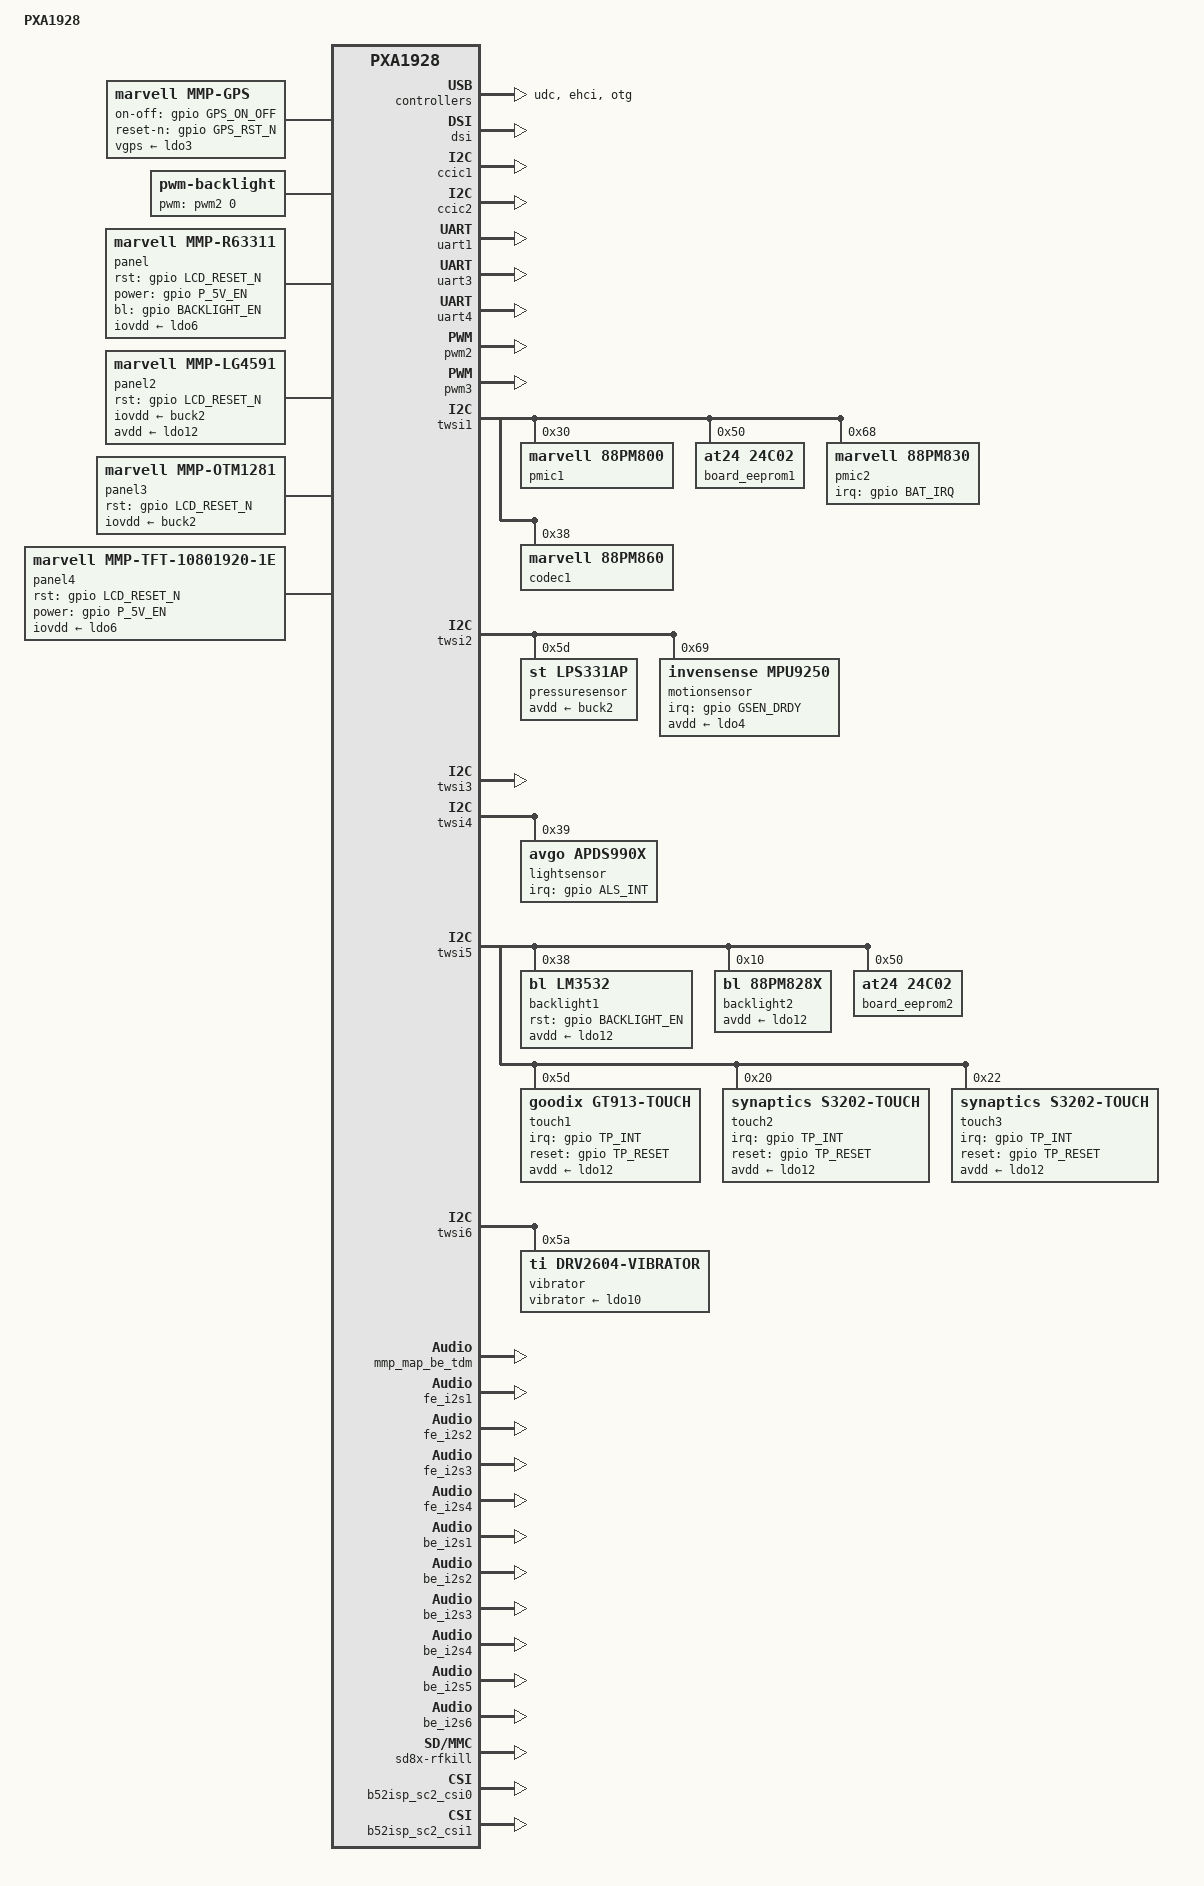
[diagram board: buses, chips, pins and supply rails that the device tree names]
/*
 *  Copyright (C) 2012 Marvell Technology Group Ltd.
 *  Author: Jing Xiang <jing.xiang@marvell.com>
 *
 *  This program is free software; you can redistribute it and/or modify
 *  it under the terms of the GNU General Public License version 2 as
 *  publishhed by the Free Software Foundation.
 */
#define PXA1928_FF
/dts-v1/;
/memreserve/ 0x09000000 0x01000000;	/* GC reserved 16M */
/memreserve/ 0x17000000 0x017f4c00;	/* default fb-mem (size: 256_align(1080*4)*1920*3+pitch_align(256_align(1080*4)*1920/512)*3(for dec header)) */
/memreserve/ 0x08100000 0x00040000;	/* ramoops buffer (256KB) */
#include "pxa1928.dtsi"
#include "pxa1928concord-pinfunc.h"
#include "regulator.h"
#include "pxa1928ff-pmic.dtsi"
#include <dt-bindings/mmc/pxa_sdhci.h>

#define KEY_MENU	139	/* Menu (show menu) */
#define KEY_HOMEPAGE	172	/* AC Home */
#define KEY_BACK	158	/* AC Back */


/ {
	model = "PXA1928";
	compatible = "mrvl,pxa1928-concord", "mrvl,pxa1928";

	interrupt-parent = <&gic>;

	aliases {
		serial0 = &uart3;
		serial2 = &uart1;
	};

	memory {
		device_type = "memory";
		reg = <0 0 0x40000000>;
	};

	gic: interrupt-controller@d1e02000 {
		status = "okay";
	};

	generic-timer {
		status = "okay";
	};

	gps: mmp-gps {
		compatible = "marvell,mmp-gps";
		pinctrl-names = "lpm_drv_low", "lpm_drv_high";
		pinctrl-0 = <&gps_lpm_drv_low_pins>;
		pinctrl-1 = <&gps_lpm_drv_high_pins>;
		marvell,mfp-lpm;
		vgps-supply = <&ldo3>;
		on-off-gpio = <&gpio GPS_ON_OFF 0>;
		reset-n-gpio = <&gpio GPS_RST_N 0>;
	};

	soc {
		axi@d4200000 {	/* AXI */
			wakeup: wakeupgen@d4284000 {
				compatible = "mrvl,pxa1928-intc-wakeupgen";
				reg = <0xd4284000 0x1000>,
					<0xd4282800 0x3ec>;
				mrvl,intc-gbl-mask = <0x114 0x1
							0x1d8 0x1
							0x208 0x1
							0x238 0x1>;
				mrvl,intc-for-sp = <>;
				mrvl,intc-wake-clr = <>;
			};

			usbphy: usbphy@d4207000 {
				status = "okay";
			};

			udc: udc@d4208100 {
				status = "okay";
			};

			ehci: ehci@d4208100 {
				status = "okay";
			};

			otg: otg@d4208100 {
				status = "okay";
			};

			dsi: dsi@d420b800 {
				marvell,phy-name = "mmp_dsi1";
				marvell,plat-path-name = "mmp_pnpath";
				marvell,dsi-lanes = <4>;
				marvell,burst-mode = <2>;
				marvell,hbp-en;
				dsi_avdd-supply = <&buck3>;
				status = "okay";
			};

			vdma: vdma@d427f000 {
				marvell,vdma-num = <4>;
				status = "okay";
				vdma1 {
					marvell,vdma-id = <0>;
					marvell,sram-size = <69632>;
					marvell,is_vid = <0>;
				};
				vdma2 {
					marvell,vdma-id = <1>;
					marvell,sram-size = <0>;
					marvell,is_vid = <0>;
				};
				vdma3 {
					marvell,vdma-id = <2>;
					marvell,sram-size = <60928>;
					marvell,is_vid = <1>;
				};
				vdma4 {
					marvell,vdma-id = <3>;
					marvell,sram-size = <0>;
					marvell,is_vid = <1>;
				};
			};

			apical: apical@d420b400 {
				marvell,apical-num = <1>;
			};

			disp: disp@d420b000 {
				marvell,disp-name = "mmp_disp";
				marvell,path-num = <1>;
				marvell,disp-aclk-dfc;
				marvell,disp-aclk-parent = "pll1_d2", "pll1_416", "pll1_624";
				status = "okay";
				path1 {
					marvell,path-name = "mmp_pnpath";
					marvell,overlay-num = <2>;
					marvell,overlay-table = <0>, <1>;
					marvell,output-type = <1>;
					marvell,path-config = <0x10>;
					marvell,link-config = <1>;
					pn_sclk_clksrc {
						clksrc = "disp1";
					};
					disp1_clksrc {
						clksrc = "pll1_416";
					};

					disp_apmu {
						plat = <2>;
						apmu-reg = <0xd4282984>;
						clksrc-bit = <12>;
						parent1-clk-tbl = "disp1", "pll3";
						parent2-clk-tbl = "pll1_416", "pll1_624", "pll3";
					};
				};
			};

			fb: fbbase {
				marvell,fb-name = "mmp_fb";
				marvell,path-name = "mmp_pnpath";
				marvell,overlay-id = <1>;
				marvell,default-pixfmt = <0x109>;
				marvell,buffer-num = <3>;
				marvell,fb-mem = <0x17000000>;
				status = "okay";
			};

			fb1: fb-overlay {
				marvell,fb-name = "mmp_fb_overlay";
				marvell,path-name = "mmp_pnpath";
				marvell,overlay-id = <0>;
				status = "okay";
			};

			gpu {
				gpu-mem-base = <0x09000000>;
				gpu-mem-size = <0x1000000>;
				status = "okay";
			};

			gpu2d {
				status = "okay";
			};

			sc2mmu1: sc2mmu@d4209000 {
				status = "okay";
			};

			ccic1: ccic@d420a000 {
				status = "okay";
				pinctrl-names = "default", "twsi3", "sccb";
				pinctrl-0 = <&twsi3_ccic1_gpio_pins>;
				pinctrl-1 = <&twsi3_ccic1_pins>;
				pinctrl-2 = <&twsi3_ccic1_sccb_pins>;
			};

			ccic2: ccic@d420a800 {
				status = "okay";
				pinctrl-names = "default", "twsi3", "sccb";
				pinctrl-0 = <&twsi3_ccic2_gpio_pins>;
				pinctrl-1 = <&twsi3_ccic2_pins>;
				pinctrl-2 = <&twsi3_ccic2_sccb_pins>;
				ccic_couple {
					    ccic_coupled = <1>;
				};
			};

			adma0: adma@c0ffd800 {
				status = "okay";
			};
			adma1: adma@c0ffd900 {
				status = "okay";
			};

			/* emmc */
                        sdh3: sdh@d4217000 {
                                pinctrl-names = "default", "fast";
                                pinctrl-0 = <&sdh3_pins_pullup &sdh3_pins_pulldn>;
                                pinctrl-1 = <&sdh3_pins_pullup_fast &sdh3_pins_pulldn_fast>;
                                bus-width = <8>;
                                non-removable;
				marvell,sdh-pm-runtime-en;
				marvell,sdh-flags = <(
						PXA_FLAG_SD_8_BIT_CAPABLE_SLOT |
						PXA_FLAG_ENABLE_CLOCK_GATING |
						PXA_FLAG_NEW_RX_CFG_REG |
						PXA_FLAG_TX_SEL_BUS_CLK
					     )>;
				marvell,sdh-quirks = <(SDHCI_QUIRK_BROKEN_CARD_DETECTION)>;
				marvell,sdh-quirks2 = <(
						SDHCI_QUIRK2_TIMEOUT_SHORT |
						SDHCI_QUIRK2_TUNING_ADMA_BROKEN |
						SDHCI_QUIRK2_FAKE_CMD_INDEX_ERR
						)>;
				marvell,sdh-host-caps = <(MMC_CAP_1_8V_DDR)>;
				marvell,sdh-host-caps2 = <(MMC_CAP2_BKOPS_EN | MMC_CAP2_HS200_1_8V_SDR)>;
/* prop "mrvl,dtr_data": <timing preset_rate src_rate tx_delay rx_delay rx_clk_sel0 rx_clk_sel1 fclk_tune_level fclk_fix_en> */
				marvell,sdh-dtr-data = <PXA_MMC_TIMING_LEGACY PXA_SDH_DTR_26M PXA_SDH_DTR_156M 0 0 0 0 0 0>,
						<PXA_MMC_TIMING_MMC_HS PXA_SDH_DTR_52M PXA_SDH_DTR_156M 0 0 0 0 4 0>,
						<PXA_MMC_TIMING_UHS_DDR50 PXA_SDH_DTR_52M PXA_SDH_DTR_156M 428 141 3 1 4 0>,
						<PXA_MMC_TIMING_MMC_HS200 PXA_SDH_DTR_156M PXA_SDH_DTR_156M 292 193 3 1 0 0>,
						<PXA_MMC_TIMING_MAX PXA_SDH_DTR_PS_NONE PXA_SDH_DTR_156M 0 0 0 0 0 0>;
                                marvell,sdh-tuning-win-limit = <150>;
                                marvell,sdh-dvfs-levels = <4 15>; /* tuning from dvfs level 0 to 15  */
                                marvell,sdh-tuning-mode = <PXA_SDH_TUNING_DVFS>;
				status = "okay";
                        };

			/* sd card */
                        sdh1: sdh@d4280000 {
                                pinctrl-names = "default", "fast";
                                pinctrl-0 = <&sdh1_pins_pullup &sdh1_pins_pulldn>;
                                pinctrl-1 = <&sdh1_pins_pullup_fast &sdh1_pins_pulldn_fast>;
                                bus-width = <4>;
                                vqmmc-supply    = <&ldo17>;
                                vmmc-supply     = <&ldo5>;
				marvell,sdh-pm-runtime-en;
				marvell,sdh-flags = <(
						PXA_FLAG_ENABLE_CLOCK_GATING |
						PXA_FLAG_NEW_RX_CFG_REG |
						PXA_FLAG_TX_SEL_BUS_CLK
					     )>;
				marvell,sdh-quirks2 = <(
						SDHCI_QUIRK2_TIMEOUT_SHORT |
						SDHCI_QUIRK2_BASE_CLOCK_ALWAYS_ON |
						SDHCI_QUIRK2_TUNING_ADMA_BROKEN |
						SDHCI_QUIRK2_SET_AIB_MMC |
						SDHCI_QUIRK2_DMA_CLOCK_FORCE_ON |
						SDHCI_QUIRK2_FAKE_CMD_INDEX_ERR
						)>;
/* prop "mrvl,dtr_data": <timing preset_rate src_rate tx_delay rx_delay rx_clk_sel0 rx_clk_sel1 fclk_tune_level fclk_fix_en> */
				marvell,sdh-dtr-data = <PXA_MMC_TIMING_LEGACY PXA_SDH_DTR_26M PXA_SDH_DTR_156M 0 0 0 0 0 0>,
						<PXA_MMC_TIMING_SD_HS PXA_SDH_DTR_52M PXA_SDH_DTR_156M 0 0 0 0 4 0>,
						<PXA_MMC_TIMING_UHS_DDR50 PXA_SDH_DTR_52M PXA_SDH_DTR_156M 282 0 0 0 4 0>,
						<PXA_MMC_TIMING_UHS_SDR104 PXA_SDH_DTR_156M PXA_SDH_DTR_156M 254 340 3 1 0 0>,
						<PXA_MMC_TIMING_MAX PXA_SDH_DTR_PS_NONE PXA_SDH_DTR_156M 0 0 0 0 0 0>;
                                marvell,sdh-tuning-win-limit = <150>;
                                marvell,sdh-dvfs-levels = <4 15>; /* tuning from dvfs level 0 to 15  */
                                marvell,sdh-tuning-mode = <PXA_SDH_TUNING_DVFS>;
				status = "okay";
                        };

			/* sdio */
			sdh2: sdh@d4280800 {
				pinctrl-names = "default", "fast", "sleep";
				pinctrl-0 = <&sdh2_pins_pullup &sdh2_pins_pulldn>;
				pinctrl-1 = <&sdh2_pins_pullup_fast &sdh2_pins_pulldn_fast>;
				pinctrl-2 = <&sdh2_pins_edge_wakeup>;
				bus-width = <4>;
				marvell,sdh-pm-runtime-en;
				marvell,sdh-quirks = <(SDHCI_QUIRK_BROKEN_CARD_DETECTION)>;
				marvell,sdh-quirks2 = <(
						SDHCI_QUIRK2_FAKE_SDIO_IRQ_IN_UHS |
						SDHCI_QUIRK2_TUNING_ADMA_BROKEN |
						SDHCI_QUIRK2_TIMEOUT_SHORT |
						SDHCI_QUIRK2_BASE_CLOCK_ALWAYS_ON |
						SDHCI_QUIRK2_MANUAL_CARD_DETECT |
						SDHCI_QUIRK2_FAKE_CMD_INDEX_ERR
						)>;
				marvell,sdh-pm-caps = <(MMC_PM_KEEP_POWER)>;
				marvell,sdh-host-caps2 = <(MMC_CAP2_NO_VOLTAGE_SWITCH)>;
				marvell,sdh-flags = <(
						PXA_FLAG_WAKEUP_HOST |
						PXA_FLAG_TX_SEL_BUS_CLK |
						PXA_FLAG_NEW_RX_CFG_REG |
						PXA_FLAG_DISABLE_PROBE_CDSCAN
						)>;
/* prop "mrvl,dtr_data": <timing preset_rate src_rate tx_delay rx_delay rx_clk_sel0 rx_clk_sel1 fclk_tune_level fclk_fix_en> */
				marvell,sdh-dtr-data = <PXA_MMC_TIMING_LEGACY PXA_SDH_DTR_26M PXA_SDH_DTR_156M 0 0 0 0 0 0>,
						<PXA_MMC_TIMING_SD_HS PXA_SDH_DTR_52M PXA_SDH_DTR_156M 0 0 0 0 4 0>,
						<PXA_MMC_TIMING_UHS_DDR50 PXA_SDH_DTR_52M PXA_SDH_DTR_156M 0 0 0 0 4 0>,
						<PXA_MMC_TIMING_UHS_SDR104 PXA_SDH_DTR_156M PXA_SDH_DTR_156M 0 250 3 1 0 0>,
						<PXA_MMC_TIMING_MAX PXA_SDH_DTR_PS_NONE PXA_SDH_DTR_156M 0 0 0 0 0 0>;
                                marvell,sdh-tuning-win-limit = <150>;
                                marvell,sdh-dvfs-levels = <4 15>; /* tuning from dvfs level 0 to 15  */
                                marvell,sdh-tuning-mode = <PXA_SDH_TUNING_DVFS>;
				marvell,sdh-sdio-probe-tune;
				status = "okay";
			};

		};

		axi@f0400000 {
			dec@0xf0400000 {
				marvell,codec-type = <0>;
				marvell,hw-capacity = <0>;
				status = "okay";
			};

			pp@0xf0400000 {
				marvell,codec-type = <1>;
				marvell,hw-capacity = <0>;
				status = "okay";
			};

			enc@0xf0400800 {
				marvell,codec-type = <2>;
				marvell,hw-capacity = <0>;
				status = "okay";
			};

			b52isp: b52isp@0xF0B00000 {
				status = "okay";
			};
		};

		apb@d4000000 {
			/* PDMA Controller 0 */
			pdma0: pdma@d4000000 {
				status = "okay";
			};

			/* PDMA Controller 1 */
			pdma1: pdma@d4008000 {
				status = "okay";
			};

			/* UART for GPS */
			uart1: uart@d4030000 {
				pinctrl-names = "default"; pinctrl-0 = <&uart1_pins>;
				status = "okay";
			};

			/* UART for AP */
			uart3: uart@d4018000 {
				pinctrl-names = "default","sleep";
				pinctrl-0 = <&uart3_pins_rx &uart3_pins_tx>;
				pinctrl-1 = <&uart3_pins_rx_sleep &uart3_pins_tx>;
				edge-wakeup-gpio = <UART3_RXD_GPIO>;
				status = "okay";
			};

			/* UART for WIFI and SPI NOR */
			uart4: uart@d4016000 {
				pinctrl-names = "default"; pinctrl-0 = <&uart4_pins>;
				status = "okay";
			};

			pwm2: pwm@d401a400 {
				pinctrl-names = "default"; pinctrl-0 = <&pwm2_pins>;
				status = "okay";
			};

			pwm3: pwm@d401a800 {
				pinctrl-names = "default"; pinctrl-0 = <&pwm3_pins>;
				status = "okay";
			};

			mfpr: mfpr@d401e000 {
				pinctrl-names = "default";
				reg = <0xd401e000 0x31c>;
				pinctrl-0 = <&mfp_pins_left_mmc1_1 &mfp_pins_left_mmc1_2 &mfp_pins_group_1>;
				status = "okay";
			};

			gpio: gpio@d4019000 {
				status = "okay";
			};

			twsi1: i2c@d4011000 {
				pinctrl-names = "default", "gpio", "i2c_cp";
				pinctrl-0 = <&twsi1_pins>;
				pinctrl-1 = <&twsi1_gpio_pins>;
				pinctrl-2 = <&twsi1_cp_pins>;
				i2c-gpio = <&gpio PWR_SCL_GPIO 0 &gpio PWR_SDA_GPIO 0>;
				mrvl,i2c-apdcp;
				status = "okay";
				pmic1: 88pm860@30 {
					compatible = "marvell,88pm800";
					reg = <0x30>;
					interrupts = <0 77 0x4>;
					interrupt-parent = <&gic>;
					interrupt-controller;
					#interrupt-cells = <1>;
					marvell,88pm800-power-page-addr = <0x31>;
					marvell,88pm800-gpadc-page-addr = <0x32>;

					regulators {
						compatible = "marvell,88pm80x-regulator";

						buck1a: BUCK1A {PM800_BUCK1A;regulator-boot-on;regulator-always-on;};
						buck2: BUCK2 {PM800_BUCK2;regulator-boot-on;regulator-always-on;};
						buck3: BUCK3 {PM800_BUCK3;regulator-boot-on;regulator-always-on;};
						buck4: BUCK4 {PM800_BUCK4;regulator-boot-on;regulator-always-on;};
						buck5: BUCK5 {PM800_BUCK5;regulator-boot-on;regulator-always-on;};
						buck6: BUCK6 {PM800_BUCK6;regulator-boot-on;regulator-always-on;};
						buck1b: BUCK1B {PM800_BUCK1B;regulator-boot-on;regulator-always-on;};
						ldo1: LDO1 {PM800_LDO1;regulator-boot-on;regulator-always-on;};
						ldo2: LDO2 {PM800_LDO2;regulator-boot-on;regulator-always-on;};
						ldo3: LDO3 {PM800_LDO3;};
						ldo4: LDO4 {PM800_LDO4;regulator-boot-on;regulator-always-on;};
						ldo5: LDO5 {PM800_LDO5;};
						ldo6: LDO6 {PM800_LDO6;regulator-boot-on;};
						ldo7: LDO7 {PM800_LDO7;};
						ldo8: LDO8 {PM800_LDO8;regulator-boot-on;regulator-always-on;};
						ldo9: LDO9 {PM800_LDO9;regulator-boot-on;regulator-always-on;};
						ldo10: LDO10 {PM800_LDO10;};
						ldo11: LDO11 {PM800_LDO11;regulator-boot-on;regulator-always-on;};
						ldo12: LDO12 {PM800_LDO12;regulator-boot-on;regulator-always-on;};
						ldo13: LDO13 {PM800_LDO13;regulator-boot-on;regulator-always-on;};
						ldo14: LDO14 {PM800_LDO14;};
						ldo15: LDO15 {PM800_LDO15;};
						ldo16: LDO16 {PM800_LDO16;regulator-boot-on;regulator-always-on;};
						ldo17: LDO17 {PM800_LDO17;};
						ldo18: LDO18 {PM800_LDO18;};
						ldo19: LDO19 {PM800_LDO19;regulator-boot-on;};
						ldo20: LDO20 {PM800_LDO20;};
					};
					headset {
						compatible = "marvell,88pm80x-headset";
						marvell,headset-flag = <1>;
						marvell,hook-press-th = <60>;
						marvell,vol-up-press-th = <250>;
						marvell,vol-down-press-th = <500>;
						marvell,mic-det-th = <600>;
						marvell,press-release-th = <600>;
						marvell,ground-detect = <0>;
						marvell,micbias-supply = <&ldo20>;
						marvell,micbias-volt = <1700>;
					};
                                        dvc {
                                                compatible = "marvell,88pm8xx-dvc";
							/* pm860 dvc affect buck1/3/5, affected 32bit = (1 << 4) | (1 << 2) | (1 << 0)*/
							/* we don't need to set buck1b since dual phase mode is enabled. */
							dvc-affected-buckbits = <21>;
							pinctrl-names = "default";
							pinctrl-0 = <&dvc_pins>;
					};
					onkey {
						compatible = "marvell,88pm80x-onkey";
						onkey-gpio-number = <1>;
						/* hardware reset: just reset */
						hw-rst-type = <1>;
						/* long onkey: power down */
						long-onkey-type = <1>;
					};
				};

				board_eeprom1:24aa025t@50 {
					compatible = "at24,24c02";
					reg = <0x50>;
				};

				pmic2: 88pm830@68 {
					compatible = "marvell,88pm830";

					/* gpio 5, 75 */
					pinctrl-names = "default","sleep";
					pinctrl-0 = <&pmic2_pins>;
					pinctrl-1 = <&pmic2_pins_sleep>;

					reg = <0x68>;
					interrupt-parent = <&gpio>;
					interrupt-controller;
					interrupts = <BAT_IRQ 0x2>;
					#interrupt-cells = <1>;
					edge-wakeup-gpio = <BAT_IRQ>;

					/* IRQF_ONESHOT | IRQF_TRIGGER_FALLING */
					marvell,88pm830-irq-flags =  <0x2002>;

					/* skip battery detection */
					obm-config-bat-det;
					/*
					 * charger, batttery parameters are based on Shenzhen B&k 485760AR battery
					 * Part Name: Li-ion Polymer Rechargeable Battery
					 * Pack Standard: 2400mAh(0.2C)
					 * Cell Model: 485760AR(4.35V)
					 */
					charger {
						compatible = "marvell,88pm830-chg";
						prechg-current = <320>;	/* mA */
						prechg-voltage = <3400>; /* mV */
						prechg-timeout = <32>; /* minute */

						fastchg-eoc = <120>; /* mA */
						fastchg-voltage = <4350 4350 4150>; /* mV for STR, LTR, HTR */
						fastchg-current = <1500 1000 1500>; /* mA for STR, LTR, HTR */
						fastchg-timeout = <8>; /* hour */

						over-voltage = <4500>; /* mV */

						no-thermal-support = <1>;
						thermal-threshold = <0xff 0xff 0x0 0x0>;

						temp-configure = <0x22>;
						temp-threshold = <150>;

						mppt-weight = <0x2>; /* 25% */
						mppt-period = <0x5>; /* 10ms */
						mppt-start-current = <0xf>; /* 1600mA */

					};

					battery {
						compatible = "marvell,88pm830-bat";

						marvell,fg-has-external-storage;
						external-storage = <&pmic1>;

						bat-ntc-support = <1>;
						tbat-ov-samp-count = <10>; /* number of samples */
						tbat-ov-samp-sleep = <100>; /* ms between samples */

						bat-capacity = <2400>;	/* mAh */
						external-resistor = <200>; /* mohm */
						sleep-period = <1000>; /* second */
						supp-threshold = <95>; /* % */
						low-threshold = <6>; /* % */
						high-threshold = <60>; /* % */
						ocv-table = <
							3428 3519 3585 3632 3657 3666 3671 3675 3677 3679
							3682 3684 3690 3700 3710 3719 3727 3734 3740 3744
							3748 3753 3757 3761 3764 3766 3768 3770 3771 3773
							3774 3775 3777 3779 3781 3784 3786 3789 3792 3795
							3798 3801 3805 3808 3812 3816 3820 3825 3829 3834
							3839 3845 3852 3859 3868 3878 3888 3899 3910 3919
							3928 3936 3944 3952 3959 3967 3974 3982 3989 3997
							4006 4015 4025 4035 4045 4055 4065 4074 4083 4094
							4104 4114 4125 4136 4147 4158 4169 4180 4191 4202
							4214 4225 4237 4249 4261 4273 4285 4297 4311 4324
						>;
						power-off-threshold = <3350>; /* mV */
						safe-power-off-threshold = <3200>; /* mV */

						/* battery temerature feature parameters */
						temp-range-num = <4>;
						switch-thr = <6 27 46>; /* C */
						gp0-bias-curr = <1 11 26 56>; /* uA */
						/* choose -20C, 0C, 10C, 45C, 50C, 63C as threshold */
						r-tbat-thr = <416912 145493 90556 21425 17851 11366>; /* ohm */
						ntc-table-size = <88>;
						/* -24C, -23C, ..., 62C, 63C */
						ntc-table = <
							524484 494913 467213 441252 416912 394080 372653 352535
							333639 315882 299189 283489 268717 254812 241718 229383
							217757 206797 196459 186705 177497 168803 160590 152829
							145493 138554 131991 125779 119899 114330 109054 104054
							99314  94820  90556  86510  82669  79022  75558  72266
							69138  66163  63335  60644  58083  55645  53324  51113
							49007  47000  45087  43262  41522  39862  38277  36765
							35321  33942  32624  31365  30161  29011  27910  26858
							25851  24887  23964  23081  22235  21425  20648  19904
							19191  18507  17851  17221  16618  16038  15482  14948
							14435  13943  13470  13015  12578  12158  11754  11366
						>;
					};

					usb {
						compatible = "marvell,88pm830-vbus";
						gpadc-number = <1>;
						id-ov-sampling;
						id-ov-samp-count = <10>; /* number of samples */
						id-ov-samp-sleep = <100>; /* sleep between each sample [mS] */
					};

					led {
						compatible = "marvell,88pm830-led";

						flash-en-gpio = <FLASH_EN>;
						flash-txmsk-gpio = <TORCH_EN>;
						max-flash-current = <1000>; /* mA */
						max-torch-current = <400>; /* mA */
					};
				};

				codec1: 88pm860@38 {
					compatible = "marvell,88pm860";
					reg = <0x38>;
					status = "okay";
					pm860_codec: pm860_codec {
						compatible = "marvell,88pm860-codec";
						#dailink-cells = <1>;
					};
				};
			};

			twsi2: i2c@d4031000 {
				pinctrl-names = "default", "gpio";
				pinctrl-0 = <&twsi2_pins>;
				pinctrl-1 = <&twsi2_gpio_pins>;
				i2c-gpio = <&gpio TWSI2_SCL_GPIO 0 &gpio TWSI2_SDA_GPIO 0>;
				mrvl,i2c-polling;
				status = "okay";

				pressuresensor: lps331ap@5d {
					compatible = "st,lps331ap";
					reg = <0x5d>;
					lps331ap,poll_interval = <1000>;
					avdd-supply = <&buck2>;
				};

				motionsensor: mpu9250@69 {
					pinctrl-names = "default"; pinctrl-0 = <&motion_sensor_pins>;
					compatible = "invensense,mpu9250";
					reg = <0x69>;
					interrupt-parent = <&gpio>;
					interrupts = <GSEN_DRDY 0x2>;
					inven,irq-gpios = <&gpio GSEN_DRDY 0x00>;
					avdd-supply = <&ldo4>;
					axis_map_x = <0>;
					negate_x = <0>;
					axis_map_y = <1>;
					negate_y = <0>;
					axis_map_z = <2>;
					negate_z = <0>;
					inven,secondary_axis_map_x = <0>;
					inven,secondary_negate_x = <0>;
					inven,secondary_axis_map_y = <1>;
					inven,secondary_negate_y = <0>;
					inven,secondary_axis_map_z = <2>;
					inven,secondary_negate_z = <0>;
					inven,secondary_type = "compass";
					inven,secondary_name = "ak8963";
					inven,secondary_reg = <0xc>;
				};
			};

			twsi3: i2c@d4032000 {
				/*For B0 chip, pinctrl-0 is used for smart sensor, host I2C
				* pinctrl-1 is used for raw sensor, SCCB
				* we have to uncomment these lines to avoid GPIO configuration conflict
				* let camera module handle these GPIO pins
				*/

				/*
				pinctrl-names = "default", "gpio";
				pinctrl-0 = <&twsi3_pins>;
				pinctrl-1 = <&twsi3_gpio_pins>;
				i2c-gpio = <&gpio TWSI3_SCL_GPIO 0 &gpio TWSI3_SDA_GPIO 0>;
				*/
				status = "okay";
			};

			twsi4: i2c@d4033000 {
				pinctrl-names = "default", "gpio";
				pinctrl-0 = <&twsi4_pins>;
				pinctrl-1 = <&twsi4_gpio_pins>;
				i2c-gpio = <&gpio TWSI4_SCL_GPIO 0 &gpio TWSI4_SDA_GPIO 0>;
				status = "okay";

				lightsensor: apds990x@39 {
					pinctrl-names = "default"; pinctrl-0 = <&apds990x_pins>;
					compatible = "avgo,apds990x";
					reg = <0x39>;
					interrupt-parent = <&gpio>;
					interrupts = <ALS_INT 0x1>;
				};
			};

			twsi5: i2c@d4033800 {
				pinctrl-names = "default", "gpio";
				pinctrl-0 = <&twsi5_pins>;
				pinctrl-1 = <&twsi5_gpio_pins>;
				i2c-gpio = <&gpio TWSI5_SCL_GPIO 0 &gpio TWSI5_SDA_GPIO 0>;
				status = "okay";

				backlight1: lm3532@38 {
					compatible = "bl,lm3532";
					reg = <0x38>;
					flags = <0>;
					ramp_time = <0>;
					ctrl_a_fs_current = <0x13>;
					ctrl_a_mapping_mode = <0x2>;
					ctrl_a_pwm = <0x86>;
					rst_gpio = <&gpio BACKLIGHT_EN 0>;
					avdd-supply = <&ldo12>;
					feedback_en_val = <0x03>;
					output_cfg_val = <0x0>;
				};

				backlight2: pm828x@10 {
					compatible = "bl,88pm828x";
					reg = <0x10>;
					ramp_mode = <0x2>;
					idac_current = <0xa00>;
					ramp_clk = <0>;
					str_config = <0x1>;
					avdd-supply = <&ldo12>;
				};

				board_eeprom2:24aa025t@50 {
					compatible = "at24,24c02";
					reg = <0x50>;
				};

				touch1: gt913@5d {
					compatible = "goodix,gt913-touch";
					pinctrl-names = "default"; pinctrl-0 = <&touch_pins>;
					reg = <0x5d>;
					interrupt-parent = <&gpio>;
					interrupts = <TP_INT 0x1>;
					irq-gpios = <&gpio TP_INT 0>;
					reset-gpios = <&gpio TP_RESET 0>;
					goodix,max-height = <1280>;
					goodix,max-width = <720>;
					avdd-supply = <&ldo12>;
				};

				touch2: s3202@20 {
					compatible = "synaptics,s3202-touch";
					pinctrl-names = "default"; pinctrl-0 = <&touch_pins>;
					reg = <0x20>;
					interrupt-parent = <&gpio>;
					interrupts = <TP_INT 0x1>;
					/* IRQF_ONESHOT | IRQF_TRIGGER_FALLING */
					synaptics,irq-flags =  <0x2002>;
					synaptics,irq-gpios = <&gpio TP_INT 0>;
					synaptics,reset-gpios = <&gpio TP_RESET 0>;
					synaptics,sensor_res_x = <1080>;
					synaptics,sensor_res_y = <1920>;
					synaptics,sensor_max_x = <1080>;
					synaptics,sensor_max_y = <1920>;
					synaptics,sensor_margin_x = <0>;
					synaptics,sensor_margin_y = <0>;
					avdd-supply = <&ldo12>;
					synaptics,button_maps = /bits/ 8 <KEY_MENU KEY_HOMEPAGE KEY_BACK>;
					synaptics,num_button = <3>;
				};

				touch3: s3202@22 {
					compatible = "synaptics,s3202-touch";
					pinctrl-names = "default"; pinctrl-0 = <&touch_pins>;
					reg = <0x22>;
					interrupt-parent = <&gpio>;
					interrupts = <TP_INT 0x1>;
					/* IRQF_ONESHOT | IRQF_TRIGGER_FALLING */
					synaptics,irq-flags =  <0x2002>;
					synaptics,irq-gpios = <&gpio TP_INT 0>;
					synaptics,reset-gpios = <&gpio TP_RESET 0>;
					synaptics,sensor_res_x = <1080>;
					synaptics,sensor_res_y = <1920>;
					synaptics,sensor_max_x = <1080>;
					synaptics,sensor_max_y = <2070>;
					synaptics,sensor_margin_x = <0>;
					synaptics,sensor_margin_y = <0>;
					avdd-supply = <&ldo12>;
				};
			};

			twsi6: i2c@d4034000 {
				pinctrl-names = "default", "gpio";
				pinctrl-0 = <&twsi6_pins>;
				pinctrl-1 = <&twsi6_gpio_pins>;
				i2c-gpio = <&gpio TWSI6_SCL_GPIO 0 &gpio TWSI6_SDA_GPIO 0>;
				status = "okay";
				vibrator: vibrator@5a {
					compatible = "ti,drv2604-vibrator";
					reg = <0x5a>;
					vibrator-supply = <&ldo10>;
				};
			};

			thermal: thermal@d403b000 {
				status = "okay";
				thermal_policy = "FF";
			};

			edgewakeup: edgewakeup@d4019800 {
				status = "okay";
			};

			keypad: keypad@d4012000 {
				marvell,direct-keys;
				marvell,direct-key-low-active;
				marvell,keypad-lpm-mod;
				marvell,direct-key-count = <8>;
				marvell,direct-key-mask = <0xff>;
				marvell,direct-key-map = < 0x00 0x72 0x00 0x00
						       0x00 0x00 0x00 0x73>;
				marvell,debounce-interval = <30>;
				pinctrl-names = "default";
				pinctrl-0 = <&keypad_in_func>;
				status = "okay";
			};

			rtc: rtc@d4010000 {
				status = "okay";
			};

			/* SSPA port 0 */
			sspa0: sspa@c0ffdc00 {
				pinctrl-names = "default";
				pinctrl-0 = <&sspa0_func>;
				playback_period_bytes = <4096>;
				playback_buffer_bytes = <12288>;
				capture_period_bytes = <4096>;
				capture_buffer_bytes = <8192>;
				sleep_vol = <0x1a>;
				#dailink-cells = <1>;
				status = "okay";
			};

			/* SSPA port 1 */
			sspa1: sspa@c0ffdd00 {
				pinctrl-names = "default";
				pinctrl-0 = <&sspa1_func>;
				playback_period_bytes = <16384>;
				playback_buffer_bytes = <32768>;
				capture_period_bytes = <4096>;
				capture_buffer_bytes = <8192>;
				sleep_vol = <0x1a>;
				#dailink-cells = <1>;
				status = "okay";
			};

			map: map@c3000000 {
				marvell,b0_fix;
				marvell,apll = <0>;
				status = "okay";
				mmp_map_codec: mmp_map_codec {
					compatible = "marvell,mmp-map-codec";
					#dailink-cells = <1>;
				};
				mmp_map_be: mmp_map_be {
					compatible = "marvell,mmp-map-be";
					#dailink-cells = <1>;
				};
				mmp_map_be_tdm: mmp_map_be_tdm {
					compatible = "marvell,mmp-map-be-tdm";
					#dailink-cells = <1>;
				};
			};

			pmx: pinmux@d401e000 {
				status = "okay";
				/* pin base, nr pins & gpio function */
				pinctrl-single,gpio-range = <PXA1928_GPIO_PINMUX>;

				uart1_pins: pinmux_uart1_pins {
					pinctrl-single,pins = <UART1_RXD UART1_TXD>;
					MFP_DEFAULT;
				};

				uart3_pins_rx: pinmux_uart3_pins_rx {
					pinctrl-single,pins = <UART3_RXD>;
					MFP_DEFAULT;
				};

				uart3_pins_tx: pinmux_uart3_pins_tx {
					pinctrl-single,pins = <UART3_TXD>;
					MFP_LPM_PULL_HIGH;
				};

				uart3_pins_rx_sleep: pinmux_uart3_pins_rx_sleep {
					pinctrl-single,pins = <UART3_RXD>;
					MFP_EDGE_BOTH_DETECT;
				};

				uart4_pins: pinmux_uart4_pins {
					pinctrl-single,pins = <UART4_RXD UART4_TXD
								UART4_RTS UART4_CTS>;
					MFP_DEFAULT;
				};

				pwm2_pins: pinmux_pwm2_pins {
					pinctrl-single,pins = <PWM2>;
					MFP_DEFAULT;
				};

				pwm3_pins: pinmux_pwm3_pins {
					pinctrl-single,pins = <PWM3>;
					MFP_DEFAULT;
				};

				ccic1_pins: pinmux_ccic1_pins {
					pinctrl-single,pins = <CAM_MCLK>;
					MFP_DEFAULT;
				};

				ccic2_pins: pinmux_ccic2_pins {
					pinctrl-single,pins = <CAM_MCLK>;
					MFP_DEFAULT;
				};

				twsi1_pins: pinmux_twsi1_pins {
					pinctrl-single,pins = <PWR_SCL PWR_SDA>;
					MFP_DEFAULT;
				};

				twsi1_gpio_pins: pinmux_twsi1_gpio_pins {
					pinctrl-single,pins = <GPIO(PWR_SCL_GPIO) GPIO(PWR_SDA_GPIO)>;
					MFP_DEFAULT;
				};

				twsi1_cp_pins: pinmux_twsi1_cp_pins {
					pinctrl-single,pins = <PWR_CP_SCL PWR_CP_SDA>;
					MFP_DEFAULT;
				};

				twsi2_pins: pinmux_twsi2_pins {
					pinctrl-single,pins = <TWSI2_SCL TWSI2_SDA>;
					MFP_DEFAULT;
				};

				twsi2_gpio_pins: pinmux_twsi2_gpio_pins {
					pinctrl-single,pins = <GPIO(TWSI2_SCL_GPIO) GPIO(TWSI2_SDA_GPIO)>;
					MFP_DEFAULT;
				};
				twsi3_ccic1_pins: pinmux_twsi3_ccic1_pins {
					pinctrl-single,pins = <TWSI3_SCL_1 TWSI3_SDA_1>;
					MFP_DEFAULT;
				};

				twsi3_ccic1_gpio_pins: pinmux_twsi3_gpio_pins {
					pinctrl-single,pins = <GPIO(TWSI3_SCL_1_GPIO) GPIO(TWSI3_SDA_1_GPIO)>;
					MFP_DEFAULT;
				};

				twsi3_ccic1_sccb_pins: pinmux_twsi3_sccb1_pins {
					pinctrl-single,pins = <TWSI3_SCL_SCCB1 TWSI3_SDA_SCCB1>;
					MFP_DEFAULT;
				};

				twsi3_ccic2_pins: pinmux_twsi3_ccic2_pins {
					pinctrl-single,pins = <TWSI3_SCL_2 TWSI3_SDA_2>;
					MFP_DEFAULT;
				};

				twsi3_ccic2_gpio_pins: pinmux_twsi3_ccic2_gpio_pins {
					pinctrl-single,pins = <GPIO(TWSI3_SCL_2_GPIO) GPIO(TWSI3_SDA_2_GPIO)>;
					MFP_DEFAULT;
				};

				twsi3_ccic2_sccb_pins: pinmux_twsi3_ccic2_sccb_pins {
					pinctrl-single,pins = <TWSI3_SCL_SCCB2 TWSI3_SDA_SCCB2>;
					MFP_DEFAULT;
				};

				twsi4_pins: pinmux_twsi4_pins {
					pinctrl-single,pins = <TWSI4_SCL TWSI4_SDA>;
					MFP_DEFAULT;
				};

				twsi4_gpio_pins: pinmux_twsi4_gpio_pins {
					pinctrl-single,pins = <GPIO(TWSI4_SCL_GPIO) GPIO(TWSI4_SDA_GPIO)>;
					MFP_DEFAULT;
				};

				twsi5_pins: pinmux_twsi5_pins {
					pinctrl-single,pins = <TWSI5_SCL TWSI5_SDA>;
					MFP_DEFAULT;
				};

				twsi5_gpio_pins: pinmux_twsi5_gpio_pins {
					pinctrl-single,pins = <GPIO(TWSI5_SCL_GPIO) GPIO(TWSI5_SDA_GPIO)>;
					MFP_DEFAULT;
				};

				twsi6_pins: pinmux_twsi6_pins {
					pinctrl-single,pins = <TWSI6_SCL TWSI6_SDA>;
					MFP_DEFAULT;
				};

				twsi6_gpio_pins: pinmux_twsi6_gpio_pins {
					pinctrl-single,pins = <GPIO(TWSI6_SCL_GPIO) GPIO(TWSI6_SDA_GPIO)>;
					MFP_DEFAULT;
				};

				pmic2_pins: pinmux_88pm830_pins {
					pinctrl-single,pins = <GPIO(BAT_IRQ) GPIO(FLASH_EN)>;
					MFP_DEFAULT;
				};

				pmic2_pins_sleep: pinmux_88pm830_pins_sleep {
					pinctrl-single,pins = <GPIO(BAT_IRQ)>;
					DS_MEDIUM;PULL_NONE;EDGE_BOTH;LPM_NONE;
				};

				touch_pins: pinmux_touch_pins {
					pinctrl-single,pins = <GPIO(TP_INT) GPIO(TP_RESET)>;
					MFP_DEFAULT;
				};

				apds990x_pins: pinmux_apds990x_pins {
					pinctrl-single,pins = <GPIO(ALS_INT)>;
					MFP_PULL_UP;
				};

				motion_sensor_pins: pinmux_motion_sensor_pins {
					pinctrl-single,pins = <GPIO(GSEN_DRDY)>;
					MFP_PULL_LOW;
				};
				/**
				 * Vibrator triger pins for pxa1928ff
				 */
				drv2604_pins: pinmux_drv2604_pins {
					pinctrl-single,pins = <GPIO(VIBRATOR_TRIGGER)>;
					MFP_PULL_LOW;
				};

				sdh3_pins_pullup: pinmux_sdh3_pins_pullup {
					pinctrl-single,pins = <
						MMC3_DAT7
						MMC3_DAT6
						MMC3_DAT5
						MMC3_DAT4
						MMC3_DAT3
						MMC3_DAT2
						MMC3_DAT1
						MMC3_DAT0
						MMC3_CMD
						MMC3_RST
					>;
					MFP_PULL_UP;
				};

				sdh3_pins_pullup_fast: pinmux_sdh3_pins_pullup_fast {
					pinctrl-single,pins = <
						MMC3_DAT7
						MMC3_DAT6
						MMC3_DAT5
						MMC3_DAT4
						MMC3_DAT3
						MMC3_DAT2
						MMC3_DAT1
						MMC3_DAT0
						MMC3_CMD
						MMC3_RST
					>;
					DS_FAST;PULL_UP;EDGE_NONE;LPM_NONE;
				};

				sdh3_pins_pulldn: pinmux_sdh3_pins_pulldn {
					pinctrl-single,pins = <
						MMC3_CLK
					>;
					MFP_PULL_DOWN;
				};

				sdh3_pins_pulldn_fast: pinmux_sdh3_pins_pulldn_fast {
					pinctrl-single,pins = <
						MMC3_CLK
					>;
					DS_FAST;PULL_DOWN;EDGE_NONE;LPM_NONE;
				};

				sdh1_pins_pullup: pinmux_sdh1_pins_pullup {
					pinctrl-single,pins = <
						MMC1_DAT3
						MMC1_DAT2
						MMC1_DAT1
						MMC1_DAT0
						MMC1_CMD
						MMC1_CD_N
						MMC1_WP
					>;
					MFP_PULL_UP;
				};

				sdh1_pins_pullup_fast: pinmux_sdh1_pins_pullup_fast {
					pinctrl-single,pins = <
						MMC1_DAT3
						MMC1_DAT2
						MMC1_DAT1
						MMC1_DAT0
						MMC1_CMD
						MMC1_CD_N
						MMC1_WP
					>;
					DS_FAST;PULL_UP;EDGE_NONE;LPM_NONE;
				};

				sdh1_pins_pulldn: pinmux_sdh1_pins_pulldn {
					pinctrl-single,pins = <
						MMC1_CLK
					>;
					MFP_PULL_DOWN;
				};

				sdh1_pins_pulldn_fast: pinmux_sdh1_pins_pulldn_fast {
					pinctrl-single,pins = <
						MMC1_CLK
					>;
					DS_FAST;PULL_DOWN;EDGE_NONE;LPM_NONE;
				};

				mfp_pins_left_mmc1_1: mfp_pins_left_mmc1_1 {
					pinctrl-single,pins = <
						MMC1_DAT7
						MMC1_DAT6
						MMC1_DAT5
						MMC1_DAT4
					>;
					MFP_PULL_UP;
				};

				/*
				 * This legacy sd card detect function (fn0) is selected by default,
				 * which must be disabled otherwise will conflict with actual cd function (MMC1_CD_N).
				 */
				mfp_pins_left_mmc1_2: mfp_pins_left_mmc1_2 {
					pinctrl-single,pins = < MMC1_CD_PAD >;
					MFP_DEFAULT;
				};

				mfp_pins_group_1: mfp_pins_group_1 {
					pinctrl-single,pins = <CAM_MCLK>;
					MFP_DEFAULT;
				};

				dvc_pins: pinmux_dvc_pins {
					pinctrl-single,pins = <
						DVC00
						DVC01
						DVC02
						DVC03
					>;
					MFP_DEFAULT;
				};

				sdh2_pins_pullup: pinmux_sdh2_pins_pullup {
					pinctrl-single,pins = <
						MMC2_DAT3
						MMC2_DAT2
						MMC2_DAT1
						MMC2_DAT0
						MMC2_CMD
					>;
					MFP_DEFAULT;
				};

				sdh2_pins_pullup_fast: pinmux_sdh2_pins_pullup_fast {
					pinctrl-single,pins = <
						MMC2_DAT3
						MMC2_DAT2
						MMC2_DAT1
						MMC2_DAT0
						MMC2_CMD
					>;
					DS_FAST;PULL_UP;EDGE_NONE;LPM_NONE;
				};

				sdh2_pins_pulldn: pinmux_sdh2_pins_pulldn {
					pinctrl-single,pins = <
						MMC2_CLK
					>;
					MFP_PULL_DOWN;
				};

				sdh2_pins_pulldn_fast: pinmux_sdh2_pins_pulldn_fast {
					pinctrl-single,pins = <
						MMC2_CLK
					>;
					DS_FAST;PULL_DOWN;EDGE_NONE;LPM_NONE;
				};

				sdh2_pins_pd_rst_off: pinmux_sdh2_pins_pd_rst_off {
					pinctrl-single,pins = <
						GPIO(WIFI_RST_N)
						GPIO(WIFI_PD_N)
					>;
					MFP_LPM_DRIVE_LOW;
				};

				sdh2_pins_pd_rst_on: pinmux_sdh2_pins_pd_rst_on {
					pinctrl-single,pins = <
						GPIO(WIFI_RST_N)
						GPIO(WIFI_PD_N)
					>;
					MFP_LPM_DRIVE_HIGH;
				};

				sdh2_pins_edge_wakeup: sdh2_pins_edge_wakeup {
					pinctrl-single,pins = <
				        MMC2_DAT1
				        >;
				        DS_MEDIUM;PULL_NONE;EDGE_BOTH;LPM_NONE;
			        };

				keypad_in_func: pinmux_keypad_in_func {
					pinctrl-single,pins = <KP_DKIN7 KP_DKIN1>;
					DS_MEDIUM;PULL_UP;EDGE_NONE;LPM_PULLHIGH;
				};

				gps_lpm_drv_low_pins: pinmux_gps_lpm_drv_low_pins {
					pinctrl-single,pins = <GPIO(GPS_RST_N) GPIO(GPS_ON_OFF)>;
					MFP_LPM_DRIVE_LOW;
				};

				gps_lpm_drv_high_pins: pinmux_gps_lpm_drv_high_pins {
					pinctrl-single,pins = <GPIO(GPS_RST_N)>;
					MFP_LPM_DRIVE_HIGH;
				};

				sspa0_func: sspa0_func {
					pinctrl-single,pins = <
						I2S_SYSCLK
						I2S_BITCLK
						I2S_SYNC
						I2S_DATA_OUT
						I2S_SDATA_IN
					>;
					MFP_DEFAULT;
				};

				sspa1_func: sspa1_func {
					pinctrl-single,pins = <
						I2S_SYNC_2
						I2S_BITCLK_2
						I2S_DATA_OUT_2
						I2S_SDATA_IN_2
					>;
					MFP_DEFAULT;
				};

				gps_eclk_pmx: gps_eclk_pmx {
					pinctrl-single,pins = <VCXO_OUT>;
					MFP_DEFAULT;
				};
			};

			seh {
				status = "okay";
			};

			acipc: acipc@d401c000 {
				status = "okay";
			};

			cp-load {
				compatible = "mrvl,cp_load";
				cp-type = <2>; /* pxa1928 */
				lpm-qos = <PM_QOS_CPUIDLE_BLOCK_AXI>;
				status = "okay";
			};
		};

		dec-devfreq {
			status = "okay";
		};

		enc-devfreq {
			status = "okay";
		};

		ddr-devfreq {
			status = "okay";
		};

		keypanic1 {
			compatible = "marvell,keyreset";
			keys-down = <0x73 0x72>;
			keyreset-need-panic;
			keyreset-press-msec = <2000>;
		};

		keypanic2 {
			compatible = "marvell,keyreset";
			keys-down = <0x74 0x72>;
			keyreset-need-panic;
			keyreset-press-msec = <2000>;
		};

		soc-camera@0 {
			status = "okay";
		};

		mcam0: mcam@0 {
			sc2-i2c-dyn-ctrl;
			avdd_2v8-supply = <&ldo9>;
			dovdd_1v8-supply = <&buck2>;
			af_2v8-supply = <&ldo7>;
			dvdd_1v2-supply = <&buck3>;
			pwdn-gpios = <&gpio CAM_MAIN_PWDN_N 0>;
			reset-gpios = <&gpio CAM1_RST_N 0>;
			dphy_val = <0xff1d00 0x00024733 0x04001001>;
			status = "disable";
		};

		mcam1: mcam@1 {
			sc2-i2c-dyn-ctrl;
			avdd_2v8-supply = <&ldo9>;
			dovdd_1v8-supply = <&buck2>;
			af_2v8-supply = <&ldo7>;
			dvdd_1v2-supply = <&buck3>;
			pwdn-gpios = <&gpio CAM_SEC_PWDN_N 0>;
			reset-gpios = <&gpio CAM2_RST_N 0>;
			dphy_val = <0xff1d00 0x00024733 0x04001001>;
			status = "okay";
		};
	};

	mmp_pcm_hostless: mmp_pcm_hostless {
		bus_number = <0>;
		compatible = "marvell,mmp-pcm-hostless";
		#dailink-cells = <1>;
		status = "okay";
	};

	snd_soc_dummy: snd_soc_dummy {
		compatible = "snd-soc-dummy";
		#dailink-cells = <1>;
		status = "okay";
	};

	sound {
		compatible = "marvell,map-card";
		map,dapm-route =
			"ADC input1", "TDM_MIC1_CAP",
			"ADC input2", "TDM_MIC2_CAP",
			"ADC input3", "BT_VC_UL",
			"TDM_OUT1_PLAYBACK", "DAC1 output out1",
			"TDM_OUT2_PLAYBACK", "DAC2 output out2",
			"BT_VC_DL", "i2s3_bt_vc",
			"I2S_SPKR_DL", "ain3_spkr_en";
		fe_i2s1: fe_i2s1 {
			compatible = "marvell,map-dailink-1";
			dai-name = "MAP I2S1 audio";
			stream-name = "map i2s1";
			marvell,cpu-dai = <&sspa0 0>;
			marvell,codec-dai = <&mmp_map_codec 1>;
		};
		fe_i2s2: fe_i2s2 {
			compatible = "marvell,map-dailink-1";
			dai-name = "MAP I2S4 audio";
			stream-name = "map i2s4";
			marvell,cpu-dai = <&sspa1 1>;
			marvell,codec-dai = <&mmp_map_codec 4>;
		};
		fe_i2s3: fe_i2s3 {
			compatible = "marvell,map-dailink-2";
			dai-name = "MAP I2S2 audio";
			stream-name = "map i2s2";
			marvell,cpu-dai = <&mmp_pcm_hostless 0>;
			marvell,codec-dai = <&mmp_map_codec 2>;
			marvell,dai-no-host-mode;
		};
		fe_i2s4: fe_i2s4 {
			compatible = "marvell,map-dailink-7";
			dai-name = "MAP I2S3 audio";
			stream-name = "map i2s3";
			marvell,cpu-dai = <&mmp_pcm_hostless 0>;
			marvell,codec-dai = <&mmp_map_codec 3>;
			marvell,dai-no-host-mode;
		};
		be_i2s1: be_i2s1 {
			compatible = "marvell,map-dailink-3";
			dai-name = "MAP AUXI2S audio";
			stream-name = "BT audio";
			marvell,cpu-dai = <&mmp_map_be 1>;
			marvell,codec-dai = <&snd_soc_dummy 0>;
			marvell,codec-name = "snd-soc-dummy";
			marvell,codec-dai-name = "snd-soc-dummy-dai";
			marvell,dai-no-pcm;
			marvell,dai-fixup = <0>;
		};
		be_i2s2: be_i2s2 {
			compatible = "marvell,map-dailink-6";
			dai-name = "MAP TDM hs audio";
			stream-name = "codec hs audio";
			marvell,cpu-dai = <&mmp_map_be_tdm 2>;
			marvell,codec-dai = <&pm860_codec 3>;
			marvell,dai-no-pcm;
			marvell,dai-fixup = <1>;
		};
		be_i2s3: be_i2s3 {
			compatible = "marvell,map-dailink-4";
			dai-name = "MAP TDM speaker audio";
			stream-name = "codec speaker audio";
			marvell,cpu-dai = <&mmp_map_be_tdm 1>;
			marvell,codec-dai = <&pm860_codec 4>;
			marvell,dai-no-pcm;
			marvell,dai-fixup = <1>;
		};
		be_i2s4: be_i2s4 {
			compatible = "marvell,map-dailink-5";
			dai-name = "MAP TDM mic1 audio";
			stream-name = "codec mic1 audio";
			marvell,cpu-dai = <&mmp_map_be_tdm 3>;
			marvell,codec-dai = <&pm860_codec 1>;
			marvell,dai-no-pcm;
		};
		be_i2s5: be_i2s5 {
			compatible = "marvell,map-dailink-5";
			dai-name = "MAP TDM mic2 audio";
			stream-name = "codec mic2 audio";
			marvell,cpu-dai = <&mmp_map_be_tdm 4>;
			marvell,codec-dai = <&pm860_codec 2>;
			marvell,dai-no-pcm;
		};
		be_i2s6: be_i2s6 {
			compatible = "marvell,map-dailink-8";
			dai-name = "MAP SPKI2S audio";
			stream-name = "I2S SPK audio";
			marvell,cpu-dai = <&mmp_map_be 4>;
			marvell,codec-dai = <&snd_soc_dummy 1>;
			marvell,codec-name = "snd-soc-dummy";
			marvell,codec-dai-name = "snd-soc-dummy-dai";
			marvell,dai-no-pcm;
		};
	};

	ion {
		marvell,ion-nr = <2>;
		status = "okay";
		marvell,ion-iommu = <1>;
		heap1 {
			marvell,ion-name = "carveout_heap";
			marvell,ion-type = <2>;
			marvell,ion-id = <2>;
			marvell,ion-base = <0x1200000>;
			marvell,ion-size = <0>;
		};
		heap2 {
			marvell,ion-name = "system_heap";
			marvell,ion-type = <0>;
			marvell,ion-id = <0>;
		};
	};

	/*
	 * ramoops:
	 * 256 KB memory starts at 0x8100000
	 * pstore dump: 2 chunks, totall 64 KB, 32 KB each
	 * console size: 192 KB
	 * no dump_oops
	 */
	ramoops {
		compatible = "pstore,ramoops";
		mem-size = <0x40000>;
		mem-address = <0x8100000>;
		record-size = <0x8000>;
		console-size = <0x30000>;
		dump-oops = <0>;
		status = "okay";
	};

	backlight: pwm-bl {
		compatible = "pwm-backlight";
		pwms = <&pwm2 0 100000>;

		brightness-levels = <1 2 3 4 5 6 7 8 9 10 11 12 13 14 15 16 17 18 19 20 21 22 23 24 25 26 27 28 28 29 30 31 32 33 34 35 36 37 38 39 40 41 42 43 44 45 46 47 48 49 50 51 52 53 54 55 56 57 58 59 60 61 62 63 64 65 66 67 68 69 70 71 72 73 74 75 76 77 78 79 80 81 82 83 84 85 86 87 88 89 90 91 92 93 94 95 96 97 98 99 100>;
		default-brightness-level = <40>;
	};

	panel: r63311 {
		compatible = "marvell,mmp-r63311";
		marvell,path-name = "mmp_pnpath";
		rst_gpio = <&gpio LCD_RESET_N 0>;
		power_gpio = <&gpio P_5V_EN 0>;
		iovdd-supply = <&ldo6>;
		bl_gpio = <&gpio BACKLIGHT_EN 0>;
		status = "okay";
	};

	panel2: lg4591 {
		compatible = "marvell,mmp-lg4591";
		marvell,path-name = "mmp_pnpath";
		rst_gpio = <&gpio LCD_RESET_N 0>;
		iovdd-supply = <&buck2>;
		avdd-supply = <&ldo12>;
		status = "okay";
	};

	panel3: otm1281 {
		compatible = "marvell,mmp-otm1281";
		marvell,path-name = "mmp_pnpath";
		rst_gpio = <&gpio LCD_RESET_N 0>;
		iovdd-supply = <&buck2>;
		status = "okay";
	};

	panel4: tft-10801920-1e {
		compatible = "marvell,mmp-tft-10801920-1e";
		marvell,path-name = "mmp_pnpath";
		marvell,ddrfreq-qos = <2>; /* DDR_CONSTRAINT_LVL1 */
		rst_gpio = <&gpio LCD_RESET_N 0>;
		power_gpio = <&gpio P_5V_EN 0>;
		iovdd-supply = <&ldo6>;
		/* avdd-supply = <&ldo6>; */
		/* bl_gpio = <&gpio GPIO(6) 0>; - Check if needed */
		status = "okay";
	};

	keypad-bl {
		compatible = "regulator-leds";
		vled-supply = <&ldo18>;
		status = "okay";
	};

	/*
	 * V_WIB_1V8(buck2/1.8v) and V_WIB_SYS(buck5/3.3v)
	 * are set to always on temperately.
	 * V_WIB_SDIO(buck2/1.8v) shared with other components and must keep on.
	 * The regulator transferred to driver mainly for sleep mode control.
	 */
	sd8x-rfkill {
		pinctrl-names = "off", "on";
		pinctrl-0 = <&sdh2_pins_pd_rst_off>;
		pinctrl-1 = <&sdh2_pins_pd_rst_on>;
		sd-host = <&sdh2>;
		pd-gpio = <&gpio WIFI_PD_N 0>;
		wib_3v3-supply = <&buck5>;
		wib_1v8-supply = <&buck2>;
		edge-wakeup-gpio = <&gpio MMC2_DAT1_GPIO 0>;
		status = "okay";
	};

	sd8xxx-wlan {
		drv_mode = <0x5>;
		cfg80211_wext = <0xc>;
		sta_name = "wlan";
		wfd_name = "p2p";
		max_vir_bss = <1>;
		drvdbg = <0x80007>;
		init_cfg = "mrvl/wifi_init_cfg.conf";
		reg_alpha2 = "US";
		p2p_enh = <1>;
	};

	sd8xxx-bt {
		init_cfg = "mrvl/bt_init_cfg.conf";
	};

	b52isp_sc2_csi0 {
		status = "okay";
	};

	b52isp_sc2_csi1 {
		status = "okay";
	};

	b52isp_sc2_dma0 {
		status = "okay";
	};

	b52isp_sc2_dma1 {
		status = "okay";
	};

	plat_cam {
		status = "okay";
		backsensor {
			compatible = "marvell,backsensor";
			#address-cells = <1>;
			#size-cells = <0>;
			status = "okay";
			/* IMX219 - not supported */
			OV13850: sensor@0 {
				compatible = "marvell,ov13850","marvell,sensor";
				sensor-name = "ovt,ov13850";
				sc2-i2c-dyn-ctrl;
				reg = <0x10>;
				adapter = <0x1>;
				status = "okay";
				sensor-pos = <1>;
				mclk = <26000000>;
				dphy3 = <0x1500>;
				dphy5 = <0xff>;
				dphy6 = <0x1001>;
				vflip = <0>;				/* Vertical flip to image */
				hflip = <1>;				/* Horizontal flip to image */
				af_2v8-supply = <&ldo7>;
				avdd_2v8-supply = <&ldo9>;
				dovdd_1v8-supply = <&buck2>;
				dvdd_1v2-supply = <&buck3>;
				sensor_power {
					pwdn-gpios = <&gpio CAM_MAIN_PWDN_N 0>;
					reset-gpios = <&gpio CAM1_RST_N 0>;
					pwdn-validvalue = <0>;
					reset-validvalue = <0>;
				};
			};
		};
	};

	tzdd {
		status = "okay";
	};

	dip {
		compatible = "marvell,simple-dip";
		plat = <2>;
	};

	chip_type {
		type = <0x1>;		/* set to PXA1928_POP by default, which will be updated by uboot */
	};
};
